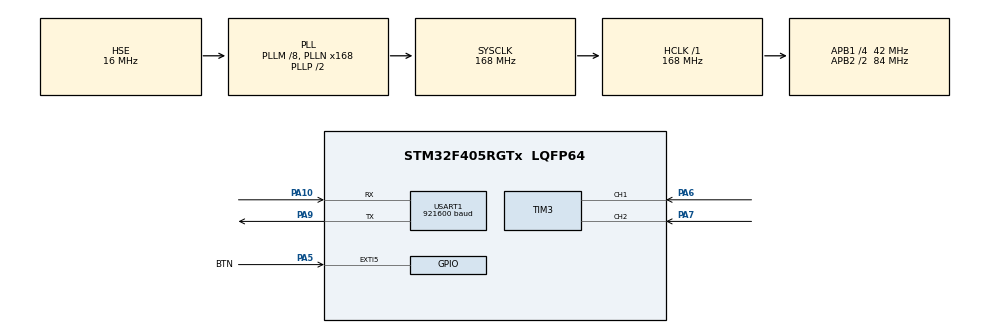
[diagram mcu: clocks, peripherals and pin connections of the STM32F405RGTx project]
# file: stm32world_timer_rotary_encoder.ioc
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Mcu.Family=STM32F4
Mcu.Name=STM32F405RGTx
Mcu.Package=LQFP64
NVIC.EXTI9_5_IRQn=true\:0\:0\:false\:false\:true\:true\:true\:true
NVIC.PriorityGroup=NVIC_PRIORITYGROUP_4
NVIC.TIM3_IRQn=true\:0\:0\:false\:false\:true\:true\:true\:true
PA10.Mode=Asynchronous
PA10.Signal=USART1_RX
PA13.Mode=Trace_Asynchronous_SW
PA13.Signal=SYS_JTMS-SWDIO
PA14.Mode=Trace_Asynchronous_SW
PA14.Signal=SYS_JTCK-SWCLK
PA5.GPIO_Label=BTN
PA5.GPIO_ModeDefaultEXTI=GPIO_MODE_IT_FALLING
PA5.Signal=GPXTI5
PA6.Signal=S_TIM3_CH1
PA7.Signal=S_TIM3_CH2
PA9.Mode=Asynchronous
PA9.Signal=USART1_TX
PB3.Mode=Trace_Asynchronous_SW
PB3.Signal=SYS_JTDO-SWO
PH0-OSC_IN.Mode=HSE-External-Oscillator
PH0-OSC_IN.Signal=RCC_OSC_IN
PH1-OSC_OUT.Mode=HSE-External-Oscillator
PH1-OSC_OUT.Signal=RCC_OSC_OUT
ProjectManager.HeapSize=0x200
ProjectManager.StackSize=0x400
ProjectManager.TargetToolchain=STM32CubeIDE
RCC.48MHZClocksFreq_Value=84000000
RCC.AHBFreq_Value=168000000
RCC.APB1CLKDivider=RCC_HCLK_DIV4
RCC.APB1Freq_Value=42000000
RCC.APB1TimFreq_Value=84000000
RCC.APB2CLKDivider=RCC_HCLK_DIV2
RCC.APB2Freq_Value=84000000
RCC.APB2TimFreq_Value=168000000
RCC.CortexFreq_Value=168000000
RCC.HCLKFreq_Value=168000000
RCC.HSE_VALUE=16000000
RCC.HSI_VALUE=16000000
RCC.LSE_VALUE=32768
RCC.PLLM=8
RCC.PLLN=168
RCC.PLLSourceVirtual=RCC_PLLSOURCE_HSE
RCC.SYSCLKFreq_VALUE=168000000
RCC.SYSCLKSource=RCC_SYSCLKSOURCE_PLLCLK
RCC.VCOOutputFreq_Value=336000000
SH.S_TIM3_CH1.0=TIM3_CH1,Encoder_Interface
SH.S_TIM3_CH2.0=TIM3_CH2,Encoder_Interface
TIM2.Prescaler=84 - 1
TIM2.TIM_MasterSlaveMode=TIM_MASTERSLAVEMODE_ENABLE
TIM3.TIM_MasterOutputTrigger=TIM_TRGO_UPDATE
TIM3.TIM_MasterSlaveMode=TIM_MASTERSLAVEMODE_DISABLE
USART1.BaudRate=921600
USART1.VirtualMode=VM_ASYNC
VP_TIM2_VS_ClockSourceINT.Mode=Internal
VP_TIM2_VS_ClockSourceITR.Mode=TriggerSource_ITR2
board=custom

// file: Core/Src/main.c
/* USER CODE BEGIN Header */
/**
 ******************************************************************************
 * @file           : main.c
 * @brief          : Main program body
 ******************************************************************************
 * @attention
 *
 * Copyright (c) 2024 STMicroelectronics.
 * All rights reserved.
 *
 * This software is licensed under terms that can be found in the LICENSE file
 * in the root directory of this software component.
 * If no LICENSE file comes with this software, it is provided AS-IS.
 *
 ******************************************************************************
 */
/* USER CODE END Header */
#include "main.h"

/* USER CODE BEGIN Includes */
#include <stdio.h>
/* USER CODE END Includes */

TIM_HandleTypeDef htim2;
TIM_HandleTypeDef htim3;

UART_HandleTypeDef huart1;

/* USER CODE BEGIN PV */
int16_t r = 0;
uint8_t r_change = 0;
uint32_t r_cnt = 0;
/* USER CODE END PV */

void SystemClock_Config(void);
static void MX_GPIO_Init(void);
static void MX_USART1_UART_Init(void);
static void MX_TIM3_Init(void);
static void MX_TIM2_Init(void);

/* USER CODE BEGIN 0 */

// Send printf to uart1
int _write(int fd, char *ptr, int len) {
    HAL_StatusTypeDef hstatus;

    if (fd == 1 || fd == 2) {
        hstatus = HAL_UART_Transmit(&huart1, (uint8_t*) ptr, len, HAL_MAX_DELAY);
        if (hstatus == HAL_OK)
            return len;
        else
            return -1;
    }
    return -1;
}

void HAL_TIM_IC_CaptureCallback(TIM_HandleTypeDef *htim) {
    if (htim->Instance == TIM3) {
        r = htim->Instance->CNT;
        r_cnt = TIM2->CNT;
        TIM2->CNT = 0;
        r_change = 1;
    }
}

void HAL_GPIO_EXTI_Callback(uint16_t GPIO_Pin) {
    if (GPIO_Pin == BTN_Pin) { // If the button
        if (htim3.Instance->CNT != 0) {
            htim3.Instance->CNT = 0;
            r = 0;
            r_cnt = 0;
            TIM2->CNT = 0;
            r_change = 1;
        }
    }
}

/* USER CODE END 0 */

int main(void)
{

  /* MCU Configuration--------------------------------------------------------*/

  /* Reset of all peripherals, Initializes the Flash interface and the Systick. */
  HAL_Init();

  /* Configure the system clock */
  SystemClock_Config();

  /* Initialize all configured peripherals */
  MX_GPIO_Init();
  MX_USART1_UART_Init();
  MX_TIM3_Init();
  MX_TIM2_Init();
  /* USER CODE BEGIN 2 */

    printf("\n\n\n\n--------\nStarting\n");

    HAL_TIM_Base_Start(&htim2);
    HAL_TIM_Encoder_Start_IT(&htim3, TIM_CHANNEL_ALL);

  /* USER CODE END 2 */

  /* Infinite loop */
  /* USER CODE BEGIN WHILE */

    uint32_t next_tick = 1000, now = 0, loop_cnt = 0;

    while (1)
    {

        now = HAL_GetTick();
        if (now >= next_tick) {
            printf("Tick %lu (loop = %lu rot = %lu tim = %lu)\n", now / 1000, loop_cnt, TIM3->CNT, TIM2->CNT);
            loop_cnt = 0;
            next_tick = now + 1000;
        }

        if (r_change) {
            printf("Rotation = %d (speed = %lu)\n", r, r_cnt);
            r_change = 0;
        }

        ++loop_cnt;

    /* USER CODE END WHILE */

    }
}

void SystemClock_Config(void)
{
  RCC_OscInitTypeDef RCC_OscInitStruct = {0};
  RCC_ClkInitTypeDef RCC_ClkInitStruct = {0};

  /** Configure the main internal regulator output voltage
  */
  __HAL_RCC_PWR_CLK_ENABLE();
  __HAL_PWR_VOLTAGESCALING_CONFIG(PWR_REGULATOR_VOLTAGE_SCALE1);

  /** Initializes the RCC Oscillators according to the specified parameters
  * in the RCC_OscInitTypeDef structure.
  */
  RCC_OscInitStruct.OscillatorType = RCC_OSCILLATORTYPE_HSE;
  RCC_OscInitStruct.HSEState = RCC_HSE_ON;
  RCC_OscInitStruct.PLL.PLLState = RCC_PLL_ON;
  RCC_OscInitStruct.PLL.PLLSource = RCC_PLLSOURCE_HSE;
  RCC_OscInitStruct.PLL.PLLM = 8;
  RCC_OscInitStruct.PLL.PLLN = 168;
  RCC_OscInitStruct.PLL.PLLP = RCC_PLLP_DIV2;
  RCC_OscInitStruct.PLL.PLLQ = 4;
  if (HAL_RCC_OscConfig(&RCC_OscInitStruct) != HAL_OK)
  {
    Error_Handler();
  }

  /** Initializes the CPU, AHB and APB buses clocks
  */
  RCC_ClkInitStruct.ClockType = RCC_CLOCKTYPE_HCLK|RCC_CLOCKTYPE_SYSCLK
                              |RCC_CLOCKTYPE_PCLK1|RCC_CLOCKTYPE_PCLK2;
  RCC_ClkInitStruct.SYSCLKSource = RCC_SYSCLKSOURCE_PLLCLK;
  RCC_ClkInitStruct.AHBCLKDivider = RCC_SYSCLK_DIV1;
  RCC_ClkInitStruct.APB1CLKDivider = RCC_HCLK_DIV4;
  RCC_ClkInitStruct.APB2CLKDivider = RCC_HCLK_DIV2;

  if (HAL_RCC_ClockConfig(&RCC_ClkInitStruct, FLASH_LATENCY_5) != HAL_OK)
  {
    Error_Handler();
  }
}

static void MX_TIM2_Init(void)
{

  TIM_ClockConfigTypeDef sClockSourceConfig = {0};
  TIM_SlaveConfigTypeDef sSlaveConfig = {0};
  TIM_MasterConfigTypeDef sMasterConfig = {0};

  htim2.Instance = TIM2;
  htim2.Init.Prescaler = 84 - 1;
  htim2.Init.CounterMode = TIM_COUNTERMODE_UP;
  htim2.Init.Period = 4294967295;
  htim2.Init.ClockDivision = TIM_CLOCKDIVISION_DIV1;
  htim2.Init.AutoReloadPreload = TIM_AUTORELOAD_PRELOAD_DISABLE;
  if (HAL_TIM_Base_Init(&htim2) != HAL_OK)
  {
    Error_Handler();
  }
  sClockSourceConfig.ClockSource = TIM_CLOCKSOURCE_INTERNAL;
  if (HAL_TIM_ConfigClockSource(&htim2, &sClockSourceConfig) != HAL_OK)
  {
    Error_Handler();
  }
  sSlaveConfig.SlaveMode = TIM_SLAVEMODE_DISABLE;
  sSlaveConfig.InputTrigger = TIM_TS_ITR2;
  if (HAL_TIM_SlaveConfigSynchro(&htim2, &sSlaveConfig) != HAL_OK)
  {
    Error_Handler();
  }
  sMasterConfig.MasterOutputTrigger = TIM_TRGO_RESET;
  sMasterConfig.MasterSlaveMode = TIM_MASTERSLAVEMODE_ENABLE;
  if (HAL_TIMEx_MasterConfigSynchronization(&htim2, &sMasterConfig) != HAL_OK)
  {
    Error_Handler();
  }

}

static void MX_TIM3_Init(void)
{

  TIM_Encoder_InitTypeDef sConfig = {0};
  TIM_MasterConfigTypeDef sMasterConfig = {0};

  htim3.Instance = TIM3;
  htim3.Init.Prescaler = 0;
  htim3.Init.CounterMode = TIM_COUNTERMODE_UP;
  htim3.Init.Period = 65535;
  htim3.Init.ClockDivision = TIM_CLOCKDIVISION_DIV1;
  htim3.Init.AutoReloadPreload = TIM_AUTORELOAD_PRELOAD_DISABLE;
  sConfig.EncoderMode = TIM_ENCODERMODE_TI1;
  sConfig.IC1Polarity = TIM_ICPOLARITY_RISING;
  sConfig.IC1Selection = TIM_ICSELECTION_DIRECTTI;
  sConfig.IC1Prescaler = TIM_ICPSC_DIV1;
  sConfig.IC1Filter = 0;
  sConfig.IC2Polarity = TIM_ICPOLARITY_RISING;
  sConfig.IC2Selection = TIM_ICSELECTION_DIRECTTI;
  sConfig.IC2Prescaler = TIM_ICPSC_DIV1;
  sConfig.IC2Filter = 0;
  if (HAL_TIM_Encoder_Init(&htim3, &sConfig) != HAL_OK)
  {
    Error_Handler();
  }
  sMasterConfig.MasterOutputTrigger = TIM_TRGO_UPDATE;
  sMasterConfig.MasterSlaveMode = TIM_MASTERSLAVEMODE_DISABLE;
  if (HAL_TIMEx_MasterConfigSynchronization(&htim3, &sMasterConfig) != HAL_OK)
  {
    Error_Handler();
  }

}

static void MX_USART1_UART_Init(void)
{

  huart1.Instance = USART1;
  huart1.Init.BaudRate = 921600;
  huart1.Init.WordLength = UART_WORDLENGTH_8B;
  huart1.Init.StopBits = UART_STOPBITS_1;
  huart1.Init.Parity = UART_PARITY_NONE;
  huart1.Init.Mode = UART_MODE_TX_RX;
  huart1.Init.HwFlowCtl = UART_HWCONTROL_NONE;
  huart1.Init.OverSampling = UART_OVERSAMPLING_16;
  if (HAL_UART_Init(&huart1) != HAL_OK)
  {
    Error_Handler();
  }

}

static void MX_GPIO_Init(void)
{
  GPIO_InitTypeDef GPIO_InitStruct = {0};

  /* GPIO Ports Clock Enable */
  __HAL_RCC_GPIOH_CLK_ENABLE();
  __HAL_RCC_GPIOA_CLK_ENABLE();
  __HAL_RCC_GPIOB_CLK_ENABLE();

  /*Configure GPIO pin : BTN_Pin */
  GPIO_InitStruct.Pin = BTN_Pin;
  GPIO_InitStruct.Mode = GPIO_MODE_IT_FALLING;
  GPIO_InitStruct.Pull = GPIO_NOPULL;
  HAL_GPIO_Init(BTN_GPIO_Port, &GPIO_InitStruct);

  /* EXTI interrupt init*/
  HAL_NVIC_SetPriority(EXTI9_5_IRQn, 0, 0);
  HAL_NVIC_EnableIRQ(EXTI9_5_IRQn);

}

void Error_Handler(void)
{
    __disable_irq();
    while (1)
    {
    }
}
